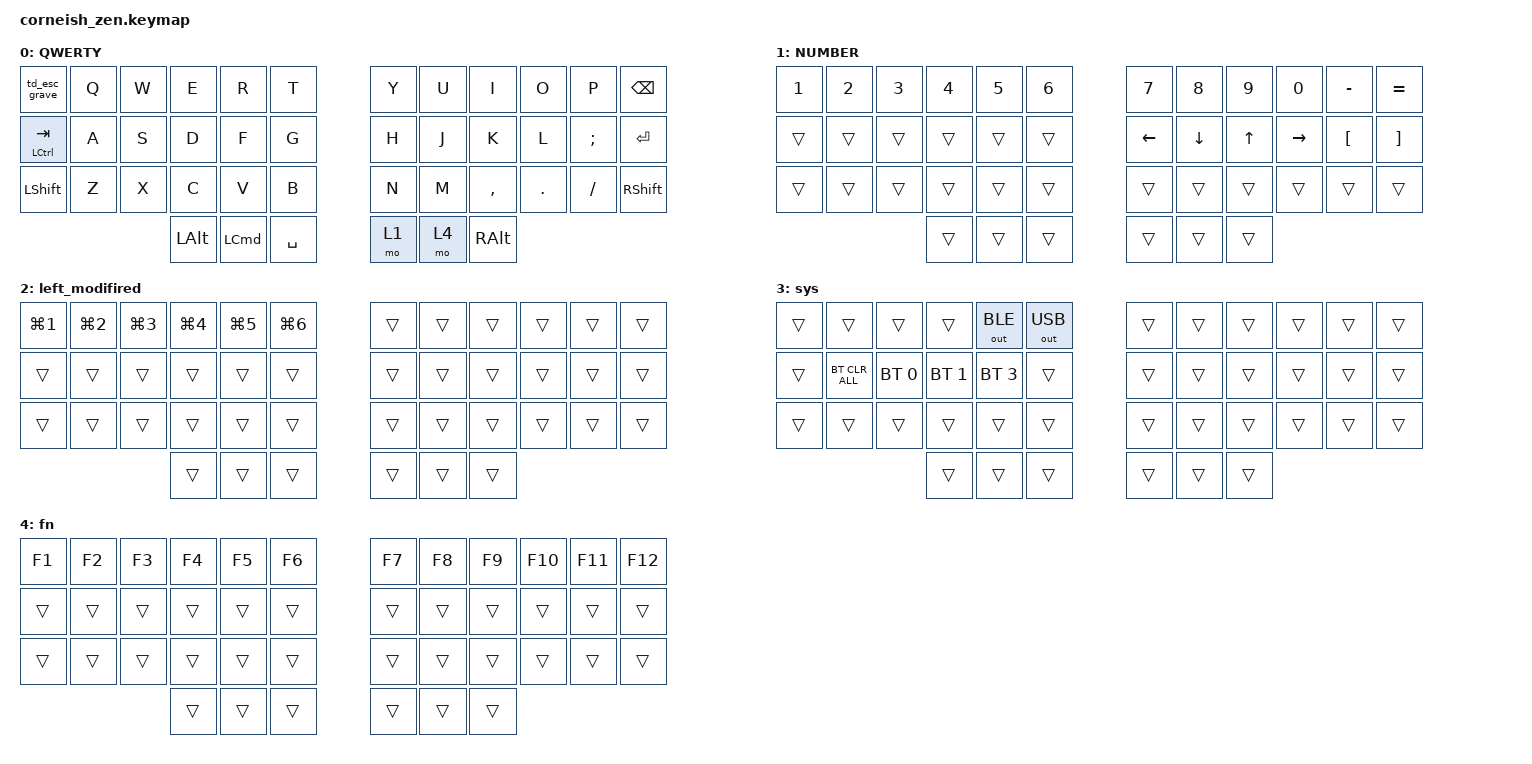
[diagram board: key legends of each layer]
/*
 * Copyright (c) 2020 The ZMK Contributors
 *
 * SPDX-License-Identifier: MIT
 */

#include <behaviors.dtsi>
#include <dt-bindings/zmk/bt.h>
#include <dt-bindings/zmk/keys.h>
#include <dt-bindings/zmk/outputs.h>

/ {
    chosen {
        zmk,matrix_transform = &default_transform;

        // zmk,matrix_transform = &five_column_transform;
    };
};

/ {
    behaviors {
        td0: td0 {
            compatible = "zmk,behavior-tap-dance";
            label = "TD0";
            #binding-cells = <0>;
            bindings = <&kp LEFT_SHIFT>, <&kp CAPS>;
        };

        hold: hold {
            compatible = "zmk,behavior-hold-tap";
            label = "HOLD";
            #binding-cells = <2>;
            tapping-term-ms = <500>;
            bindings = <&kp>, <&kp>;
        };

        hold_mo: hold_mo {
            compatible = "zmk,behavior-hold-tap";
            label = "HOLD_MO";
            bindings = <&mo>, <&kp>;

            #binding-cells = <2>;
            tapping-term-ms = <500>;
        };

        td_esc_grave: td_esc_grave {
            compatible = "zmk,behavior-tap-dance";
            label = "TD_ESC_GRAVE";
            #binding-cells = <0>;
            bindings = <&kp ESC>, <&kp GRAVE>;
        };
    };

    combos {
        compatible = "zmk,combos";

        sys_combo {
            bindings = <&mo 3>;
            key-positions = <34 33 32>;
        };

        left_mod {
            bindings = <&mo 2>;
            key-positions = <24 37>;
        };

        s_quote {
            bindings = <&kp SINGLE_QUOTE>;
            key-positions = <23 22>;
            layers = <0>;
        };

        backslash {
            bindings = <&kp BACKSLASH>;
            key-positions = <10 11>;
            layers = <0>;
        };

        spotlight {
            bindings = <&kp LG(SPACE)>;
            key-positions = <37 39>;
        };
    };

    keymap {
        compatible = "zmk,keymap";

        default_layer {
            display-name = "QWERTY";

            // --------------------------------------------------------------------------------
            // |  TAB |  Q  |  W  |  E  |  R  |  T  |   |  Y  |  U   |  I  |  O  |  P  | BKSP |
            // | CTRL |  A  |  S  |  D  |  F  |  G  |   |  H  |  J   |  K  |  L  |  ;  |  '   | 
            // | SHFT |  Z  |  X  |  C  |  V  |  B  |   |  N  |  M   |  ,  |  .  |  /  | ESC  |
            //                    | GUI | LWR | SPC |   | ENT | RSE  | ALT |

            bindings = <
&td_esc_grave    &kp Q  &kp W  &kp E         &kp R             &kp T        &kp Y  &kp U  &kp I          &kp O    &kp P     &kp BSPC
&hold LCTRL TAB  &kp A  &kp S  &kp D         &kp F             &kp G        &kp H  &kp J  &kp K          &kp L    &kp SEMI  &kp ENTER
&kp LEFT_SHIFT   &kp Z  &kp X  &kp C         &kp V             &kp B        &kp N  &kp M  &kp COMMA      &kp DOT  &kp FSLH  &kp RIGHT_SHIFT
                               &kp LEFT_ALT  &kp LEFT_COMMAND  &kp SPACE    &mo 1  &mo 4  &kp RIGHT_ALT
            >;
        };

        lower_layer {
            display-name = "NUMBER";

            // -----------------------------------------------------------------------------------------
            // |  TAB |  1  |  2  |  3  |  4  |  5  |   |  6  |  7  |  8  |  9  |  0  | BKSP |
            // | BTCLR| BT1 | BT2 | BT3 | BT4 | BT5 |   | LFT | DWN |  UP | RGT |     |      |
            // | SHFT |     |     |     |     |     |   |     |     |     |     |     |      |
            //                    | GUI |     | SPC |   | ENT |     | ALT |

            bindings = <
&kp N1  &kp N2  &kp N3  &kp N4  &kp N5  &kp N6    &kp N7          &kp N8          &kp N9        &kp N0           &kp MINUS         &kp EQUAL
&trans  &trans  &trans  &trans  &trans  &trans    &kp LEFT_ARROW  &kp DOWN_ARROW  &kp UP_ARROW  &kp RIGHT_ARROW  &kp LEFT_BRACKET  &kp RIGHT_BRACKET
&trans  &trans  &trans  &trans  &trans  &trans    &trans          &trans          &trans        &trans           &trans            &trans
                        &trans  &trans  &trans    &trans          &trans          &trans
            >;
        };

        left_modifired {
            bindings = <
&kp LG(NUMBER_1)  &kp LG(NUMBER_2)  &kp LG(NUMBER_3)  &kp LG(NUMBER_4)  &kp LG(N5)  &kp LG(NUMBER_6)    &trans  &trans  &trans  &trans  &trans  &trans
&trans            &trans            &trans            &trans            &trans      &trans              &trans  &trans  &trans  &trans  &trans  &trans
&trans            &trans            &trans            &trans            &trans      &trans              &trans  &trans  &trans  &trans  &trans  &trans
                                                      &trans            &trans      &trans              &trans  &trans  &trans
            >;
        };

        sys {
            bindings = <
&trans  &trans          &trans        &trans        &out OUT_BLE  &out OUT_USB    &trans  &trans  &trans  &trans  &trans  &trans
&trans  &bt BT_CLR_ALL  &bt BT_SEL 0  &bt BT_SEL 1  &bt BT_SEL 3  &trans          &trans  &trans  &trans  &trans  &trans  &trans
&trans  &trans          &trans        &trans        &trans        &trans          &trans  &trans  &trans  &trans  &trans  &trans
                                      &trans        &trans        &trans          &trans  &trans  &trans
            >;
        };

        fn {
            bindings = <
&kp F1  &kp F2  &kp F3  &kp F4  &kp F5  &kp F6    &kp F7  &kp F8  &kp F9  &kp F10  &kp F11  &kp F12
&trans  &trans  &trans  &trans  &trans  &trans    &trans  &trans  &trans  &trans   &trans   &trans
&trans  &trans  &trans  &trans  &trans  &trans    &trans  &trans  &trans  &trans   &trans   &trans
                        &trans  &trans  &trans    &trans  &trans  &trans
            >;
        };
    };
};
